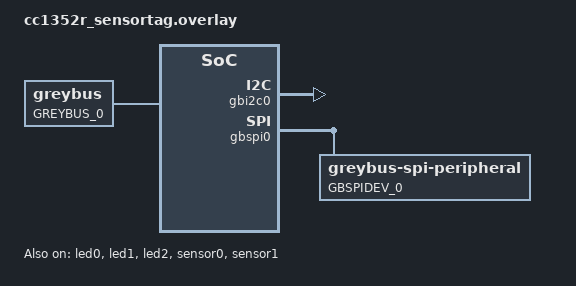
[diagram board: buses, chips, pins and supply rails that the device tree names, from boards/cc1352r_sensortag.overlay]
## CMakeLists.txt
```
# SPDX-License-Identifier: BSD-3-Clause

cmake_minimum_required(VERSION 3.13.1)
include($ENV{ZEPHYR_BASE}/cmake/app/boilerplate.cmake NO_POLICY_SCOPE)
project(greybus-net)

zephyr_include_directories(../../../../../include)

target_sources(app PRIVATE src/main.c)
```

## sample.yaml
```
common:
  tags: net socket greybus
  depends_on: netif
sample:
  description: Use Linux to blink an LED on a remote device using a network
    connection
  name: Greybus Network Blinky Demo
tests:
  sample.greybus.net:
    platform_whitelist: qemu_x86 sam_e70_xplained frdm_k64f
      qemu_cortex_m3 frdm_kw41z
  sample.greybus.net.802154:
    extra_args: OVERLAY_CONFIG="overlay-qemu_802154.conf"
    platform_whitelist: qemu_x86
  sample.greybus.net.bt:
    extra_args: OVERLAY_CONFIG="overlay-bt.conf"
    platform_whitelist: qemu_x86
    tags: bluetooth
  sample.greybus.net.mcr20a:
    extra_args: SHIELD=frdm_cr20a OVERLAY_CONFIG=overlay-802154.conf
    platform_whitelist: frdm_k64f
  sample.greybus.net.nrf_802154:
    extra_args: OVERLAY_CONFIG="overlay-802154.conf"
    platform_whitelist: nrf52840dk_nrf52840
  sample.greybus.net.usbnet:
    depends_on: usb_device
    harness: net
    extra_args: OVERLAY_CONFIG="overlay-netusb.conf"
    tags: net usb
  sample.greybus.net.usbnet_composite:
    depends_on: usb_device
    harness: net
    extra_args: OVERLAY_CONFIG="overlay-netusb.conf"
    extra_configs:
      - CONFIG_USB_COMPOSITE_DEVICE=y
    tags: net usb
  sample.greybus.net.nrf_openthread:
    extra_args: OVERLAY_CONFIG="overlay-ot.conf"
    slow: true
    tags: net openthread
    platform_whitelist: nrf52840dk_nrf52840
  sample.greybus.net.kw41z_openthread:
    extra_args: OVERLAY_CONFIG="overlay-ot.conf"
    slow: true
    tags: net openthread
    platform_whitelist: frdm_kw41z
  sample.greybus.net.e1000:
    extra_args: OVERLAY_CONFIG="overlay-e1000.conf"
    tags: net
    platform_whitelist: qemu_x86
  sample.greybus.net.stellaris:
    extra_args: OVERLAY_CONFIG="overlay-qemu_cortex_m3_eth.conf"
    tags: net
    platform_whitelist: qemu_cortex_m3
  sample.greybus.net.smsc911x:
    extra_args: OVERLAY_CONFIG="overlay-smsc911x.conf"
    tags: net
    platform_whitelist: mps2_an385
```

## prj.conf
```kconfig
CONFIG_HEAP_MEM_POOL_SIZE=16384
CONFIG_NEWLIB_LIBC=y

# Greybus options and dependencies
CONFIG_GREYBUS=y
CONFIG_GREYBUS_CONTROL=y
CONFIG_PTHREAD_IPC=y
CONFIG_PTHREAD_DYNAMIC_STACK=y
CONFIG_THREAD_NAME=y

# Console options
CONFIG_CONSOLE_SUBSYS=y

# Generic networking options
CONFIG_NETWORKING=y
CONFIG_NET_UDP=y
CONFIG_NET_TCP=y
CONFIG_NET_IPV6=y
CONFIG_NET_IPV4=y
CONFIG_NET_SOCKETS=y
CONFIG_NET_SOCKETS_POSIX_NAMES=y
CONFIG_NET_SOCKETS_POLL_MAX=16
CONFIG_POSIX_MAX_FDS=16
CONFIG_NET_CONNECTION_MANAGER=y
CONFIG_NET_MAX_CONN=16

# Service advertisement options
CONFIG_DNS_SD=y
CONFIG_NET_HOSTNAME_ENABLE=y
CONFIG_MDNS_RESPONDER=y
CONFIG_MDNS_RESPONDER_DNS_SD=y

# Kernel options
CONFIG_MAIN_STACK_SIZE=1024
CONFIG_ENTROPY_GENERATOR=y
CONFIG_INIT_STACKS=y

# Logging
CONFIG_NET_LOG=y
CONFIG_LOG=y
CONFIG_NET_STATISTICS=y
CONFIG_PRINTK=y

# Network buffers
CONFIG_NET_PKT_RX_COUNT=16
CONFIG_NET_PKT_TX_COUNT=16
CONFIG_NET_BUF_RX_COUNT=16
CONFIG_NET_BUF_TX_COUNT=16
CONFIG_NET_CONTEXT_NET_PKT_POOL=y

# IP address options
CONFIG_NET_IF_UNICAST_IPV6_ADDR_COUNT=3
CONFIG_NET_IF_MCAST_IPV6_ADDR_COUNT=4
CONFIG_NET_MAX_CONTEXTS=16

# Network shell
CONFIG_NET_SHELL=y
CONFIG_SHELL=y

# Network application options and configuration
CONFIG_NET_CONFIG_SETTINGS=y
CONFIG_NET_CONFIG_MY_IPV6_ADDR="2001:db8::1"
CONFIG_NET_CONFIG_PEER_IPV6_ADDR="2001:db8::2"
CONFIG_NET_CONFIG_MY_IPV4_ADDR="192.0.2.1"
CONFIG_NET_CONFIG_PEER_IPV4_ADDR="192.0.2.2"

# Pthread options
CONFIG_MAX_PTHREAD_COUNT=16
```

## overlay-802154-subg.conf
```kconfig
CONFIG_BT=n

# Disable TCP and IPv4 (TCP disabled to avoid heavy traffic)
CONFIG_NET_TCP=y
CONFIG_NET_IPV4=n

CONFIG_NET_CONFIG_NEED_IPV6=y
CONFIG_NET_CONFIG_NEED_IPV4=n
CONFIG_NET_CONFIG_MY_IPV4_ADDR=""
CONFIG_NET_CONFIG_PEER_IPV4_ADDR=""

CONFIG_NET_L2_IEEE802154=y
CONFIG_NET_L2_IEEE802154_SHELL=y
CONFIG_NET_L2_IEEE802154_LOG_LEVEL_INF=y

CONFIG_NET_CONFIG_IEEE802154_CHANNEL=1
```

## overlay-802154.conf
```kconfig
CONFIG_BT=n

CONFIG_NET_TCP=y
CONFIG_NET_IPV4=n

CONFIG_NET_CONFIG_NEED_IPV6=y
CONFIG_NET_CONFIG_NEED_IPV4=n
CONFIG_NET_CONFIG_MY_IPV4_ADDR=""
CONFIG_NET_CONFIG_PEER_IPV4_ADDR=""

CONFIG_NET_L2_IEEE802154=y
CONFIG_NET_L2_IEEE802154_SHELL=y
CONFIG_NET_L2_IEEE802154_LOG_LEVEL_INF=y

CONFIG_NET_CONFIG_IEEE802154_CHANNEL=26
```

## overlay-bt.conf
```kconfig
CONFIG_BT=y
CONFIG_BT_DEBUG_LOG=y
CONFIG_BT_SMP=y
CONFIG_BT_PERIPHERAL=y
CONFIG_BT_CENTRAL=y
CONFIG_BT_L2CAP_DYNAMIC_CHANNEL=y
CONFIG_BT_DEVICE_NAME="Zephyr Greybus Demo"
CONFIG_NET_L2_BT=y
CONFIG_NET_IPV4=n
CONFIG_NET_IPV6=y
CONFIG_NET_CONFIG_BT_NODE=y
CONFIG_NET_CONFIG_NEED_IPV6=y
CONFIG_NET_CONFIG_NEED_IPV4=n
CONFIG_NET_CONFIG_MY_IPV4_ADDR=""
CONFIG_NET_CONFIG_PEER_IPV4_ADDR=""
CONFIG_BT_SHELL=y

CONFIG_NETWORKING=y
CONFIG_NET_IPV6=y
CONFIG_NET_IPV4=n
CONFIG_NET_UDP=y
CONFIG_NET_TCP=y
CONFIG_TEST_RANDOM_GENERATOR=y
CONFIG_NET_L2_BT=y
CONFIG_INIT_STACKS=y
CONFIG_NET_PKT_RX_COUNT=10
CONFIG_NET_PKT_TX_COUNT=10
CONFIG_NET_BUF_RX_COUNT=20
CONFIG_NET_BUF_TX_COUNT=20
CONFIG_NET_IF_UNICAST_IPV6_ADDR_COUNT=3
CONFIG_NET_IF_MCAST_IPV6_ADDR_COUNT=2
CONFIG_NET_MAX_CONTEXTS=6

CONFIG_NET_CONFIG_SETTINGS=y
CONFIG_NET_CONFIG_MY_IPV6_ADDR="2001:db8::1"
CONFIG_NET_CONFIG_PEER_IPV6_ADDR="2001:db8::2"
CONFIG_NET_CONFIG_BT_NODE=y
```

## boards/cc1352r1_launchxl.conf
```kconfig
CONFIG_GPIO=y
CONFIG_I2C=y
```

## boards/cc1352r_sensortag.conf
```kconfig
CONFIG_GPIO=y
CONFIG_GREYBUS_GPIO=y

CONFIG_I2C=y
CONFIG_GREYBUS_I2C=y

CONFIG_SPI=y
CONFIG_SPI_0=y
CONFIG_GREYBUS_SPI=y

# useful for verifying functionality with SPI
CONFIG_SENSOR=y
CONFIG_ADXL362=y
CONFIG_SENSOR_SHELL=y
```

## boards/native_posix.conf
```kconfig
# Copyright (c) 2020 Friedt Professional Engineering Services, Inc
# SPDX-License-Identifier: BSD-3-Clause

CONFIG_GPIO=y
CONFIG_GPIO_EMUL=y
CONFIG_GREYBUS_GPIO=y
```

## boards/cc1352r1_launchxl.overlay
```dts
/*
 * Copyright (c) 2020 Friedt Professional Engineering Services, Inc
 *
 * SPDX-License-Identifier: BSD-3-Clause
 */
 #include <dt-bindings/greybus/greybus.h>
 #include <dt-bindings/greybus/spi.h>

/ {
	resources {
		compatible = "test,greybus-i2c";
		test-i2c = <&i2c0>; 
	};

	greybus0: greybus0 {
		compatible = "zephyr,greybus";
		label = "GREYBUS_0";
		greybus;
	};
};

&flash0 {
	status = "okay";
};

&led0 {
	status = "okay";
};

&led1 {
	status = "okay";
};

&greybus0 {
	label = "GREYBUS_0";
	status = "okay";
	/* defaults in effect, so this isn't necessary */
	version-major = <GREYBUS_VERSION_MAJOR>;
	version-minor = <GREYBUS_VERSION_MINOR>;

	gbstring1: gbstring1 {
		label = "GBSTRING_1";
		status = "okay";
		compatible = "zephyr,greybus-string";
		/* NB: string id 0 is invalid */
		id = <1>;
		greybus-string = "Zephyr Project RTOS";
	};

	gbstring2: gbstring2 {
		label = "GBSTRING_2";
		status = "okay";
		compatible = "zephyr,greybus-string";
		id = <2>;
		greybus-string = "Greybus Service Sample Application";
	};

	gbinterface0 {
		label = "GBINTERFACE_0";
		status = "okay";
		compatible = "zephyr,greybus-interface";
		vendor-string-id = <&gbstring1>;
		product-string-id = <&gbstring2>;
		greybus-interface;
	};

	gbbundle0 {
		label = "GBBUNDLE_0";
		status = "okay";
		compatible = "zephyr,greybus-bundle";
		greybus-bundle;
		/* Control Bundle 0
		 * Note: control bundle 0 and control cport 0 are optional
		 * Since instance numbers automatically begin at 0, the id
		 * is a mandatory field for bundles and cports.
		 */
		id = <CONTROL_BUNDLE_ID>;
		bundle-class = <BUNDLE_CLASS_CONTROL>;

		gbcontrol0 {
			label = "GBCONTROL_0";
			status = "okay";
			compatible = "zephyr,greybus-control";
			greybus-controller;
			/* Control CPort 0
			 * Note: control bundle 0 and control cport 0 are optional
			 * Since instance numbers automatically begin at 0, the id
			 * is a mandatory field for bundles and cports.
			 */
			id = <CONTROL_CPORT_ID>;
			cport-protocol = <CPORT_PROTOCOL_CONTROL>; 
		};
	};

	gbbundle1 {
		label = "GBBUNDLE_1";
		status = "okay";
		compatible = "zephyr,greybus-bundle";
		greybus-bundle;
		id = <1>;
		bundle-class = <BUNDLE_CLASS_BRIDGED_PHY>;		
				
		gbgpio0 {
			label = "GBGPIO_0";
			status = "okay";
			compatible = "zephyr,greybus-gpio-controller";
			greybus-gpio-controller = <&gpio0>;
			/* GPIO is CPort 1 in this case */
			id = <1>;
			cport-protocol = <CPORT_PROTOCOL_GPIO>;
		};
	};
	
	gbbundle2 {
		label = "GBBUNDLE_2";
		status = "okay";
		compatible = "zephyr,greybus-bundle";
		greybus-bundle;
		id = <2>;
		bundle-class = <BUNDLE_CLASS_BRIDGED_PHY>;		
				
		gbi2c0 {
			label = "GBI2C_0";
			status = "okay";
			compatible = "zephyr,greybus-i2c-controller";
			greybus-i2c-controller = <&i2c0>;
			/* I2C is CPort 2 in this case */
			id = <2>;
			cport-protocol = <CPORT_PROTOCOL_I2C>;
		};
	};
	
};
```

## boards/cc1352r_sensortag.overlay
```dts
/*
 * Copyright (c) 2020 Friedt Professional Engineering Services, Inc
 *
 * SPDX-License-Identifier: BSD-3-Clause
 */
 #include <dt-bindings/greybus/greybus.h>
 #include <dt-bindings/greybus/spi.h>

/ {
	resources {
		compatible = "test,greybus-i2c";
		test-i2c = <&i2c0>; 
	};

	greybus0: greybus0 {
		compatible = "zephyr,greybus";
		label = "GREYBUS_0";
		greybus;
	};
};

&flash0 {
	status = "okay";
};

&led0 {
	status = "okay";
};

&led1 {
	status = "okay";
};

&led2 {
	status = "okay";
};

&sensor0 {
	status = "okay";
};

&sensor1 {
	status = "okay";
};

&greybus0 {
	label = "GREYBUS_0";
	status = "okay";
	/* defaults in effect, so this isn't necessary */
	version-major = <GREYBUS_VERSION_MAJOR>;
	version-minor = <GREYBUS_VERSION_MINOR>;

	gbstring1: gbstring1 {
		label = "GBSTRING_1";
		status = "okay";
		compatible = "zephyr,greybus-string";
		/* NB: string id 0 is invalid */
		id = <1>;
		greybus-string = "Zephyr Project RTOS";
	};

	gbstring2: gbstring2 {
		label = "GBSTRING_2";
		status = "okay";
		compatible = "zephyr,greybus-string";
		id = <2>;
		greybus-string = "Greybus Service Sample Application";
	};

	gbinterface0 {
		label = "GBINTERFACE_0";
		status = "okay";
		compatible = "zephyr,greybus-interface";
		vendor-string-id = <&gbstring1>;
		product-string-id = <&gbstring2>;
		greybus-interface;
	};

	gbbundle0 {
		label = "GBBUNDLE_0";
		status = "okay";
		compatible = "zephyr,greybus-bundle";
		greybus-bundle;
		/* Control Bundle 0
		 * Note: control bundle 0 and control cport 0 are optional
		 * Since instance numbers automatically begin at 0, the id
		 * is a mandatory field for bundles and cports.
		 */
		id = <CONTROL_BUNDLE_ID>;
		bundle-class = <BUNDLE_CLASS_CONTROL>;

		gbcontrol0 {
			label = "GBCONTROL_0";
			status = "okay";
			compatible = "zephyr,greybus-control";
			greybus-controller;
			/* Control CPort 0
			 * Note: control bundle 0 and control cport 0 are optional
			 * Since instance numbers automatically begin at 0, the id
			 * is a mandatory field for bundles and cports.
			 */
			id = <CONTROL_CPORT_ID>;
			cport-protocol = <CPORT_PROTOCOL_CONTROL>; 
		};
	};

	gbbundle1 {
		label = "GBBUNDLE_1";
		status = "okay";
		compatible = "zephyr,greybus-bundle";
		greybus-bundle;
		id = <1>;
		bundle-class = <BUNDLE_CLASS_BRIDGED_PHY>;		
				
		gbgpio0 {
			label = "GBGPIO_0";
			status = "okay";
			compatible = "zephyr,greybus-gpio-controller";
			greybus-gpio-controller = <&gpio0>;
			/* GPIO is CPort 1 in this case */
			id = <1>;
			cport-protocol = <CPORT_PROTOCOL_GPIO>;
		};

		gbi2c0 {
			label = "GBI2C_0";
			status = "okay";
			compatible = "zephyr,greybus-i2c-controller";
			greybus-i2c-controller = <&i2c0>;
			/* I2C is CPort 2 in this case */
			id = <2>;
			cport-protocol = <CPORT_PROTOCOL_I2C>;
		};

		gbspi0 {
			label = "GBSPI_0";
			status = "okay";
			compatible = "zephyr,greybus-spi-controller";
			greybus-spi-controller = <&spi0>;
			/* SPI is CPort 3 in this case */
			id = <3>;
			cport-protocol = <CPORT_PROTOCOL_SPI>;

			/*
			 * Entries for struct gb_spi_master_config_response
			 */
			bpw-mask = <0xff>;
			min-speed-hz = <2000000>;
			max-speed-hz = <6000000>;			
			mode = <0>;
			flags = <0>;

			gbspidev0 {
				label = "GBSPIDEV_0";
				status = "okay";
				compatible = "zephyr,greybus-spi-peripheral";
				/* cs is used as an array index */				
				cs = <0>;
				
				/*
				 * Entries for struct gb_spi_device_config_response
				 */
				mode = <0>;
				bpw = <8>;
				max-speed-hz = <8000000>;
				device-type = <GB_SPI_SPI_DEV>;
				device-name = "ADXL362";
			};
		};
	};
};
```

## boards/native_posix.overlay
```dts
/*
 * Copyright (c) 2020 Friedt Professional Engineering Services, Inc
 *
 * SPDX-License-Identifier: BSD-3-Clause
 */
 #include <dt-bindings/greybus/greybus.h>

/ {
	greybus0: greybus0 {
		compatible = "zephyr,greybus";
		label = "GREYBUS_0";
		greybus;
	};
};

&gpio0 {
	status = "okay";
	ngpios = <2>;
};

&greybus0 {
	label = "GREYBUS_0";
	status = "okay";
	/* defaults in effect, so this isn't necessary */
	version-major = <GREYBUS_VERSION_MAJOR>;
	version-minor = <GREYBUS_VERSION_MINOR>;

	gbstring1: gbstring1 {
		label = "GBSTRING_1";
		status = "okay";
		compatible = "zephyr,greybus-string";
		id = <1>;
		greybus-string = "Zephyr Project RTOS";
	};

	gbstring2: gbstring2 {
		label = "GBSTRING_2";
		status = "okay";
		compatible = "zephyr,greybus-string";
		id = <2>;
		greybus-string = "Greybus Service Sample Application";
	};

	gbinterface0 {
		label = "GBINTERFACE_0";
		status = "okay";
		compatible = "zephyr,greybus-interface";
		vendor-string-id = <&gbstring1>;
		product-string-id = <&gbstring2>;
		greybus-interface;
	};

	gbbundle0 {
		label = "GBBUNDLE_0";
		status = "okay";
		compatible = "zephyr,greybus-bundle";
		greybus-bundle;
		/* Control Bundle 0
		 * Note: control bundle 0 and control cport 0 are optional
		 * Since instance numbers automatically begin at 0, the id
		 * is a mandatory field for bundles and cports.
		 */
		id = <CONTROL_BUNDLE_ID>;
		bundle-class = <BUNDLE_CLASS_CONTROL>;

		gbcontrol0 {
			label = "GBCONTROL_0";
			status = "okay";
			compatible = "zephyr,greybus-control";
			greybus-controller;
			/* Control CPort 0
			 * Note: control bundle 0 and control cport 0 are optional
			 * Since instance numbers automatically begin at 0, the id
			 * is a mandatory field for bundles and cports.
			 */
			id = <CONTROL_CPORT_ID>;
			cport-protocol = <CPORT_PROTOCOL_CONTROL>; 
		};
	};
	
	gbbundle1 {
		label = "GBBUNDLE_0";
		status = "okay";
		compatible = "zephyr,greybus-bundle";
		greybus-bundle;
		id = <1>;
		bundle-class = <BUNDLE_CLASS_BRIDGED_PHY>;		
				
		gbgpio0 {
			label = "GBGPIO_0";
			status = "okay";
			compatible = "zephyr,greybus-gpio-controller";
			greybus-gpio-controller = <&gpio0>;
			id = <1>;
			cport-protocol = <CPORT_PROTOCOL_GPIO>;
		};
	};
};
```

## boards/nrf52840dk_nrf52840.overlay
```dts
/*
 * Copyright (c) 2020 Friedt Professional Engineering Services, Inc
 *
 * SPDX-License-Identifier: BSD-3-Clause
 */

#include <dt-bindings/greybus/greybus.h>

/ {
	resources {
		compatible = "test,greybus-i2c";
		test-i2c = <&i2c0>; 
	};

	greybus0: greybus0 {
		compatible = "zephyr,greybus";
		label = "GREYBUS_0";
		greybus;
	};
};

&flash0 {
	status = "okay";
};

&led0 {
	status = "okay";
};

&led1 {
	status = "okay";
};

&greybus0 {
	label = "GREYBUS_0";
	status = "okay";
	/* defaults in effect, so this isn't necessary */
	version-major = <GREYBUS_VERSION_MAJOR>;
	version-minor = <GREYBUS_VERSION_MINOR>;

	gbstring1: gbstring1 {
		label = "GBSTRING_1";
		status = "okay";
		compatible = "zephyr,greybus-string";
		/* NB: string id 0 is invalid */
		id = <1>;
		greybus-string = "Zephyr Project RTOS";
	};

	gbstring2: gbstring2 {
		label = "GBSTRING_2";
		status = "okay";
		compatible = "zephyr,greybus-string";
		id = <2>;
		greybus-string = "Greybus Service Sample Application";
	};

	gbinterface0 {
		label = "GBINTERFACE_0";
		status = "okay";
		compatible = "zephyr,greybus-interface";
		vendor-string-id = <&gbstring1>;
		product-string-id = <&gbstring2>;
		greybus-interface;
	};

	gbbundle0 {
		label = "GBBUNDLE_0";
		status = "okay";
		compatible = "zephyr,greybus-bundle";
		greybus-bundle;
		/* Control Bundle 0
		 * Note: control bundle 0 and control cport 0 are optional
		 * Since instance numbers automatically begin at 0, the id
		 * is a mandatory field for bundles and cports.
		 */
		id = <CONTROL_BUNDLE_ID>;
		bundle-class = <BUNDLE_CLASS_CONTROL>;

		gbcontrol0 {
			label = "GBCONTROL_0";
			status = "okay";
			compatible = "zephyr,greybus-control";
			greybus-controller;
			/* Control CPort 0
			 * Note: control bundle 0 and control cport 0 are optional
			 * Since instance numbers automatically begin at 0, the id
			 * is a mandatory field for bundles and cports.
			 */
			id = <CONTROL_CPORT_ID>;
			cport-protocol = <CPORT_PROTOCOL_CONTROL>; 
		};
	};

	gbbundle1 {
		label = "GBBUNDLE_1";
		status = "okay";
		compatible = "zephyr,greybus-bundle";
		greybus-bundle;
		id = <1>;
		bundle-class = <BUNDLE_CLASS_BRIDGED_PHY>;		
				
		gbgpio0 {
			label = "GBGPIO_0";
			status = "okay";
			compatible = "zephyr,greybus-gpio-controller";
			greybus-gpio-controller = <&gpio0>;
			/* GPIO is CPort 1 in this case */
			id = <1>;
			cport-protocol = <CPORT_PROTOCOL_GPIO>;
		};
	};
};
```

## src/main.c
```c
/*
 * Copyright (c) 2109 Friedt Professional Engineering Services, Inc
 *
 * SPDX-License-Identifier: BSD-3-Clause
 */

#include <stdio.h>
#include <zephyr.h>

void main(void)
{
}
```
